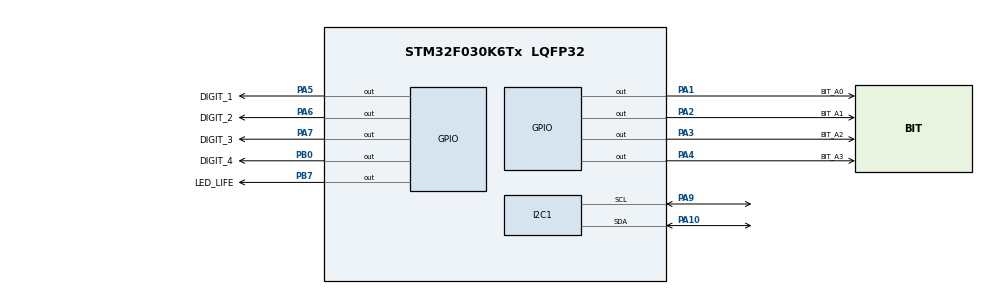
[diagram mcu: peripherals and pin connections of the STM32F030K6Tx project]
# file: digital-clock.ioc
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Mcu.Family=STM32F0
Mcu.Name=STM32F030K6Tx
Mcu.Package=LQFP32
NVIC.TIM14_IRQn=true\:3\:0\:true\:false\:true\:true\:true\:true
NVIC.TIM3_IRQn=true\:2\:0\:true\:false\:true\:true\:true\:true
PA1.GPIO_Label=BIT_A0
PA1.GPIO_Speed=GPIO_SPEED_FREQ_HIGH
PA1.Signal=GPIO_Output
PA10.Mode=I2C
PA10.Signal=I2C1_SDA
PA13.Mode=Serial_Wire
PA13.Signal=SYS_SWDIO
PA14.Mode=Serial_Wire
PA14.Signal=SYS_SWCLK
PA2.GPIO_Label=BIT_A1
PA2.GPIO_Speed=GPIO_SPEED_FREQ_HIGH
PA2.Signal=GPIO_Output
PA3.GPIO_Label=BIT_A2
PA3.GPIO_Speed=GPIO_SPEED_FREQ_HIGH
PA3.Signal=GPIO_Output
PA4.GPIO_Label=BIT_A3
PA4.GPIO_Speed=GPIO_SPEED_FREQ_HIGH
PA4.Signal=GPIO_Output
PA5.GPIO_Label=DIGIT_1
PA5.GPIO_PuPd=GPIO_NOPULL
PA5.GPIO_Speed=GPIO_SPEED_FREQ_HIGH
PA5.PinState=GPIO_PIN_RESET
PA5.Signal=GPIO_Output
PA6.GPIO_Label=DIGIT_2
PA6.GPIO_PuPd=GPIO_NOPULL
PA6.GPIO_Speed=GPIO_SPEED_FREQ_HIGH
PA6.PinState=GPIO_PIN_RESET
PA6.Signal=GPIO_Output
PA7.GPIO_Label=DIGIT_3
PA7.GPIO_PuPd=GPIO_NOPULL
PA7.GPIO_Speed=GPIO_SPEED_FREQ_HIGH
PA7.PinState=GPIO_PIN_RESET
PA7.Signal=GPIO_Output
PA9.Mode=I2C
PA9.Signal=I2C1_SCL
PB0.GPIO_Label=DIGIT_4
PB0.GPIO_PuPd=GPIO_NOPULL
PB0.GPIO_Speed=GPIO_SPEED_FREQ_HIGH
PB0.PinState=GPIO_PIN_RESET
PB0.Signal=GPIO_Output
PB7.GPIO_Label=LED_LIFE
PB7.Signal=GPIO_Output
ProjectManager.HeapSize=0x200
ProjectManager.StackSize=0x400
ProjectManager.TargetToolchain=STM32CubeIDE
TIM14.Period=10000
TIM14.Prescaler=4000
TIM3.AutoReloadPreload=TIM_AUTORELOAD_PRELOAD_DISABLE
TIM3.Period=999
TIM3.Prescaler=19
VP_TIM14_VS_ClockSourceINT.Mode=Enable_Timer
VP_TIM3_VS_ClockSourceINT.Mode=Internal
board=custom

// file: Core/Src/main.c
/* USER CODE BEGIN Header */
/**
  ******************************************************************************
  * @file           : main.c
  * @brief          : Main program body
  ******************************************************************************
  * @attention
  *
  * Copyright (c) 2022 STMicroelectronics.
  * All rights reserved.
  *
  * This software is licensed under terms that can be found in the LICENSE file
  * in the root directory of this software component.
  * If no LICENSE file comes with this software, it is provided AS-IS.
  *
  ******************************************************************************
  */
/* USER CODE END Header */
#include "main.h"

/* USER CODE BEGIN PD */
#define DS3231_ADDRESS 0xD0
/* USER CODE END PD */

I2C_HandleTypeDef hi2c1;

TIM_HandleTypeDef htim3;
TIM_HandleTypeDef htim14;

/* USER CODE BEGIN PV */
typedef struct {
	int hour;
	int minute;
	int month;
	int dom;
	int dow;
} timeData_t;

typedef struct {
	uint8_t Digit1;
	uint8_t Digit2;
	uint8_t Digit3;
	uint8_t Digit4;
} digit_t;

typedef enum {
	hour_n_minute,
	day_of_week,
	date_n_month,
} timeComponent_t;

timeComponent_t timeComponent = 0;
timeData_t timeNow;
digit_t timeDigit;
uint32_t sweepTime = 0;
uint8_t digit = 1;
uint8_t flag = 1;
int count = 0;
/* USER CODE END PV */

void SystemClock_Config(void);
static void MX_GPIO_Init(void);
static void MX_I2C1_Init(void);
static void MX_TIM3_Init(void);
static void MX_TIM14_Init(void);
/* USER CODE BEGIN PFP */
uint8_t decToBcd(int val);
int bcdToDec(uint8_t val);
void Set_Time (uint8_t sec, uint8_t min, uint8_t hour, uint8_t dow, uint8_t dom, uint8_t month, uint8_t year);
void Get_Time (void);
void Display_Time(void);
/* USER CODE END PFP */

/* USER CODE BEGIN 0 */
void HAL_TIM_PeriodElapsedCallback(TIM_HandleTypeDef *htim)
{
  if (htim->Instance == htim3.Instance) flag = 1;
  if (htim->Instance == htim14.Instance){
	  if (timeComponent == 2) timeComponent = 0;
	  else timeComponent++;
  }
}
// Convert normal decimal numbers to binary coded decimal
uint8_t decToBcd(int val)
{
  return (uint8_t)( (val/10*16) + (val%10) );
}
// Convert binary coded decimal to normal decimal numbers
int bcdToDec(uint8_t val)
{
  return (int)( (val/16*10) + (val%16) );
}
/* function to set time */

void Set_Time (uint8_t sec, uint8_t min, uint8_t hour, uint8_t dow, uint8_t dom, uint8_t month, uint8_t year)
{
	uint8_t set_time[7];
	set_time[0] = decToBcd(sec);
	set_time[1] = decToBcd(min);
	set_time[2] = decToBcd(hour);
	set_time[3] = decToBcd(dow);
	set_time[4] = decToBcd(dom);
	set_time[5] = decToBcd(month);
	set_time[6] = decToBcd(year);

	HAL_I2C_Mem_Write(&hi2c1, DS3231_ADDRESS, 0x00, 1, set_time, 7, 1000);
}
//function to get time
void Get_Time (void)
{
	uint8_t get_time[6];
	HAL_I2C_Mem_Read(&hi2c1, DS3231_ADDRESS, 0x01, 1, get_time, 6, 1000);
	timeNow.minute = bcdToDec(get_time[0]);
	timeNow.hour = bcdToDec(get_time[1]);
	timeNow.dow = bcdToDec(get_time[2]);
	timeNow.dom = bcdToDec(get_time[3]);
	timeNow.month = bcdToDec(get_time[4]);
	switch (timeComponent) {
		case hour_n_minute: {
			timeDigit.Digit1 = decToBcd((timeNow.hour/10));
			timeDigit.Digit2 = decToBcd((timeNow.hour%10));
			timeDigit.Digit3 = decToBcd((timeNow.minute/10));
			timeDigit.Digit4 = decToBcd((timeNow.minute%10));
			break;
		}
		case date_n_month: {
			timeDigit.Digit1 = decToBcd((timeNow.dom/10));
			timeDigit.Digit2 = decToBcd((timeNow.dom%10));
			timeDigit.Digit3 = decToBcd((timeNow.month/10));
			timeDigit.Digit4 = decToBcd((timeNow.month%10));
			break;
		}
		case day_of_week: {
			timeDigit.Digit1 = 0b1111;
			timeDigit.Digit2 = 0b1111;
			timeDigit.Digit3 = 0b1110;
			timeDigit.Digit4 = (timeNow.dow == 1) ? 0b1000 : decToBcd(timeNow.dow);
			break;
		}
		default: break;
	}
}

void Display_Time(void)
{
	Get_Time();
	switch(digit){
			case 1:
				if(flag){
					HAL_GPIO_WritePin(DIGIT_1_GPIO_Port, DIGIT_1_Pin, 1);
					HAL_GPIO_WritePin(DIGIT_2_GPIO_Port, DIGIT_2_Pin, 0);
					HAL_GPIO_WritePin(DIGIT_3_GPIO_Port, DIGIT_3_Pin, 0);
					HAL_GPIO_WritePin(DIGIT_4_GPIO_Port, DIGIT_4_Pin, 0);
					HAL_GPIO_WritePin(BIT_A3_GPIO_Port, BIT_A3_Pin, timeDigit.Digit1 & 0b0001);
					HAL_GPIO_WritePin(BIT_A0_GPIO_Port, BIT_A0_Pin, timeDigit.Digit1 & 0b0010);
					HAL_GPIO_WritePin(BIT_A1_GPIO_Port, BIT_A1_Pin, timeDigit.Digit1 & 0b0100);
					HAL_GPIO_WritePin(BIT_A2_GPIO_Port, BIT_A2_Pin, timeDigit.Digit1 & 0b1000);
					digit = 2;
					flag = 0;
				}
				break;
			case 2:
				if(flag){
					HAL_GPIO_WritePin(DIGIT_2_GPIO_Port, DIGIT_2_Pin, 1);
					HAL_GPIO_WritePin(DIGIT_1_GPIO_Port, DIGIT_1_Pin, 0);
					HAL_GPIO_WritePin(DIGIT_3_GPIO_Port, DIGIT_3_Pin, 0);
					HAL_GPIO_WritePin(DIGIT_4_GPIO_Port, DIGIT_4_Pin, 0);
					HAL_GPIO_WritePin(BIT_A3_GPIO_Port, BIT_A3_Pin, timeDigit.Digit2 & 0b0001);
					HAL_GPIO_WritePin(BIT_A0_GPIO_Port, BIT_A0_Pin, timeDigit.Digit2 & 0b0010);
					HAL_GPIO_WritePin(BIT_A1_GPIO_Port, BIT_A1_Pin, timeDigit.Digit2 & 0b0100);
					HAL_GPIO_WritePin(BIT_A2_GPIO_Port, BIT_A2_Pin, timeDigit.Digit2 & 0b1000);
					digit = 3;
					flag = 0;
				}
				break;
			case 3:
				if(flag){
					HAL_GPIO_WritePin(DIGIT_3_GPIO_Port, DIGIT_3_Pin, 1);
					HAL_GPIO_WritePin(DIGIT_1_GPIO_Port, DIGIT_1_Pin, 0);
					HAL_GPIO_WritePin(DIGIT_2_GPIO_Port, DIGIT_2_Pin, 0);
					HAL_GPIO_WritePin(DIGIT_4_GPIO_Port, DIGIT_4_Pin, 0);
					HAL_GPIO_WritePin(BIT_A3_GPIO_Port, BIT_A3_Pin, timeDigit.Digit3 & 0b0001);
					HAL_GPIO_WritePin(BIT_A0_GPIO_Port, BIT_A0_Pin, timeDigit.Digit3 & 0b0010);
					HAL_GPIO_WritePin(BIT_A1_GPIO_Port, BIT_A1_Pin, timeDigit.Digit3 & 0b0100);
					HAL_GPIO_WritePin(BIT_A2_GPIO_Port, BIT_A2_Pin, timeDigit.Digit3 & 0b1000);
					digit = 4;
					flag = 0;
				}
				break;
			case 4:
				if(flag){
					HAL_GPIO_WritePin(DIGIT_4_GPIO_Port, DIGIT_4_Pin, 1);
					HAL_GPIO_WritePin(DIGIT_1_GPIO_Port, DIGIT_1_Pin, 0);
					HAL_GPIO_WritePin(DIGIT_2_GPIO_Port, DIGIT_2_Pin, 0);
					HAL_GPIO_WritePin(DIGIT_3_GPIO_Port, DIGIT_3_Pin, 0);
					HAL_GPIO_WritePin(BIT_A3_GPIO_Port, BIT_A3_Pin, timeDigit.Digit4 & 0b0001);
					HAL_GPIO_WritePin(BIT_A0_GPIO_Port, BIT_A0_Pin, timeDigit.Digit4 & 0b0010);
					HAL_GPIO_WritePin(BIT_A1_GPIO_Port, BIT_A1_Pin, timeDigit.Digit4 & 0b0100);
					HAL_GPIO_WritePin(BIT_A2_GPIO_Port, BIT_A2_Pin, timeDigit.Digit4 & 0b1000);
					digit = 1;
					flag = 0;
				}
				break;
	}
}
/* USER CODE END 0 */

int main(void)
{

  /* MCU Configuration--------------------------------------------------------*/

  /* Reset of all peripherals, Initializes the Flash interface and the Systick. */
  HAL_Init();

  /* Configure the system clock */
  SystemClock_Config();

  /* Initialize all configured peripherals */
  MX_GPIO_Init();
  MX_I2C1_Init();
  MX_TIM3_Init();
  MX_TIM14_Init();
  /* USER CODE BEGIN 2 */
//  Set_Time(30, 35, 16, 7, 26, 11, 22);
  HAL_TIM_Base_Start_IT(&htim3);
  HAL_TIM_Base_Start_IT(&htim14);
  /* USER CODE END 2 */

  /* Infinite loop */
  while (1)
  {

    /* USER CODE BEGIN 3 */
	  Display_Time();
  }
  /* USER CODE END 3 */
}

void SystemClock_Config(void)
{
  RCC_OscInitTypeDef RCC_OscInitStruct = {0};
  RCC_ClkInitTypeDef RCC_ClkInitStruct = {0};
  RCC_PeriphCLKInitTypeDef PeriphClkInit = {0};

  /** Initializes the RCC Oscillators according to the specified parameters
  * in the RCC_OscInitTypeDef structure.
  */
  RCC_OscInitStruct.OscillatorType = RCC_OSCILLATORTYPE_HSI;
  RCC_OscInitStruct.HSIState = RCC_HSI_ON;
  RCC_OscInitStruct.HSICalibrationValue = RCC_HSICALIBRATION_DEFAULT;
  RCC_OscInitStruct.PLL.PLLState = RCC_PLL_NONE;
  if (HAL_RCC_OscConfig(&RCC_OscInitStruct) != HAL_OK)
  {
    Error_Handler();
  }

  /** Initializes the CPU, AHB and APB buses clocks
  */
  RCC_ClkInitStruct.ClockType = RCC_CLOCKTYPE_HCLK|RCC_CLOCKTYPE_SYSCLK
                              |RCC_CLOCKTYPE_PCLK1;
  RCC_ClkInitStruct.SYSCLKSource = RCC_SYSCLKSOURCE_HSI;
  RCC_ClkInitStruct.AHBCLKDivider = RCC_SYSCLK_DIV1;
  RCC_ClkInitStruct.APB1CLKDivider = RCC_HCLK_DIV1;

  if (HAL_RCC_ClockConfig(&RCC_ClkInitStruct, FLASH_LATENCY_0) != HAL_OK)
  {
    Error_Handler();
  }
  PeriphClkInit.PeriphClockSelection = RCC_PERIPHCLK_I2C1;
  PeriphClkInit.I2c1ClockSelection = RCC_I2C1CLKSOURCE_HSI;
  if (HAL_RCCEx_PeriphCLKConfig(&PeriphClkInit) != HAL_OK)
  {
    Error_Handler();
  }
}

static void MX_I2C1_Init(void)
{

  hi2c1.Instance = I2C1;
  hi2c1.Init.Timing = 0x2000090E;
  hi2c1.Init.OwnAddress1 = 0;
  hi2c1.Init.AddressingMode = I2C_ADDRESSINGMODE_7BIT;
  hi2c1.Init.DualAddressMode = I2C_DUALADDRESS_DISABLE;
  hi2c1.Init.OwnAddress2 = 0;
  hi2c1.Init.OwnAddress2Masks = I2C_OA2_NOMASK;
  hi2c1.Init.GeneralCallMode = I2C_GENERALCALL_DISABLE;
  hi2c1.Init.NoStretchMode = I2C_NOSTRETCH_DISABLE;
  if (HAL_I2C_Init(&hi2c1) != HAL_OK)
  {
    Error_Handler();
  }

  /** Configure Analogue filter
  */
  if (HAL_I2CEx_ConfigAnalogFilter(&hi2c1, I2C_ANALOGFILTER_ENABLE) != HAL_OK)
  {
    Error_Handler();
  }

  /** Configure Digital filter
  */
  if (HAL_I2CEx_ConfigDigitalFilter(&hi2c1, 0) != HAL_OK)
  {
    Error_Handler();
  }

}

static void MX_TIM3_Init(void)
{

  TIM_ClockConfigTypeDef sClockSourceConfig = {0};
  TIM_MasterConfigTypeDef sMasterConfig = {0};

  htim3.Instance = TIM3;
  htim3.Init.Prescaler = 19;
  htim3.Init.CounterMode = TIM_COUNTERMODE_UP;
  htim3.Init.Period = 999;
  htim3.Init.ClockDivision = TIM_CLOCKDIVISION_DIV1;
  htim3.Init.AutoReloadPreload = TIM_AUTORELOAD_PRELOAD_DISABLE;
  if (HAL_TIM_Base_Init(&htim3) != HAL_OK)
  {
    Error_Handler();
  }
  sClockSourceConfig.ClockSource = TIM_CLOCKSOURCE_INTERNAL;
  if (HAL_TIM_ConfigClockSource(&htim3, &sClockSourceConfig) != HAL_OK)
  {
    Error_Handler();
  }
  sMasterConfig.MasterOutputTrigger = TIM_TRGO_RESET;
  sMasterConfig.MasterSlaveMode = TIM_MASTERSLAVEMODE_DISABLE;
  if (HAL_TIMEx_MasterConfigSynchronization(&htim3, &sMasterConfig) != HAL_OK)
  {
    Error_Handler();
  }

}

static void MX_TIM14_Init(void)
{

  htim14.Instance = TIM14;
  htim14.Init.Prescaler = 4000;
  htim14.Init.CounterMode = TIM_COUNTERMODE_UP;
  htim14.Init.Period = 10000;
  htim14.Init.ClockDivision = TIM_CLOCKDIVISION_DIV1;
  htim14.Init.AutoReloadPreload = TIM_AUTORELOAD_PRELOAD_DISABLE;
  if (HAL_TIM_Base_Init(&htim14) != HAL_OK)
  {
    Error_Handler();
  }

}

static void MX_GPIO_Init(void)
{
  GPIO_InitTypeDef GPIO_InitStruct = {0};

  /* GPIO Ports Clock Enable */
  __HAL_RCC_GPIOA_CLK_ENABLE();
  __HAL_RCC_GPIOB_CLK_ENABLE();

  /*Configure GPIO pin Output Level */
  HAL_GPIO_WritePin(GPIOA, BIT_A0_Pin|BIT_A1_Pin|BIT_A2_Pin|BIT_A3_Pin
                          |DIGIT_1_Pin|DIGIT_2_Pin|DIGIT_3_Pin, GPIO_PIN_RESET);

  /*Configure GPIO pin Output Level */
  HAL_GPIO_WritePin(GPIOB, DIGIT_4_Pin|LED_LIFE_Pin, GPIO_PIN_RESET);

  /*Configure GPIO pins : BIT_A0_Pin BIT_A1_Pin BIT_A2_Pin BIT_A3_Pin
                           DIGIT_1_Pin DIGIT_2_Pin DIGIT_3_Pin */
  GPIO_InitStruct.Pin = BIT_A0_Pin|BIT_A1_Pin|BIT_A2_Pin|BIT_A3_Pin
                          |DIGIT_1_Pin|DIGIT_2_Pin|DIGIT_3_Pin;
  GPIO_InitStruct.Mode = GPIO_MODE_OUTPUT_PP;
  GPIO_InitStruct.Pull = GPIO_NOPULL;
  GPIO_InitStruct.Speed = GPIO_SPEED_FREQ_HIGH;
  HAL_GPIO_Init(GPIOA, &GPIO_InitStruct);

  /*Configure GPIO pin : DIGIT_4_Pin */
  GPIO_InitStruct.Pin = DIGIT_4_Pin;
  GPIO_InitStruct.Mode = GPIO_MODE_OUTPUT_PP;
  GPIO_InitStruct.Pull = GPIO_NOPULL;
  GPIO_InitStruct.Speed = GPIO_SPEED_FREQ_HIGH;
  HAL_GPIO_Init(DIGIT_4_GPIO_Port, &GPIO_InitStruct);

  /*Configure GPIO pin : LED_LIFE_Pin */
  GPIO_InitStruct.Pin = LED_LIFE_Pin;
  GPIO_InitStruct.Mode = GPIO_MODE_OUTPUT_PP;
  GPIO_InitStruct.Pull = GPIO_NOPULL;
  GPIO_InitStruct.Speed = GPIO_SPEED_FREQ_LOW;
  HAL_GPIO_Init(LED_LIFE_GPIO_Port, &GPIO_InitStruct);

}

void Error_Handler(void)
{
  __disable_irq();
  while (1)
  {
  }
}
